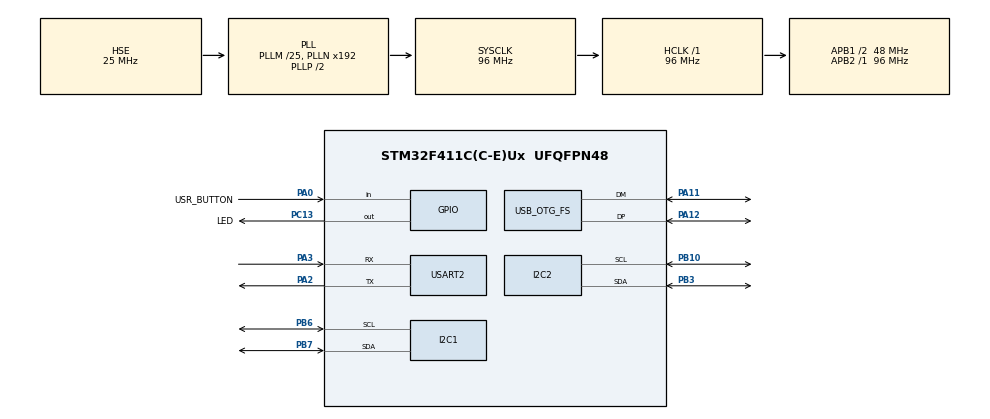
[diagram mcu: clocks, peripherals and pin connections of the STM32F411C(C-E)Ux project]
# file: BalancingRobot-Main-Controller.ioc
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Dma.Request0=USART2_TX
Dma.USART2_TX.0.Direction=DMA_MEMORY_TO_PERIPH
Dma.USART2_TX.0.FIFOMode=DMA_FIFOMODE_DISABLE
Dma.USART2_TX.0.Instance=DMA1_Stream6
Dma.USART2_TX.0.MemDataAlignment=DMA_MDATAALIGN_BYTE
Dma.USART2_TX.0.MemInc=DMA_MINC_ENABLE
Dma.USART2_TX.0.Mode=DMA_NORMAL
Dma.USART2_TX.0.PeriphDataAlignment=DMA_PDATAALIGN_BYTE
Dma.USART2_TX.0.PeriphInc=DMA_PINC_DISABLE
Dma.USART2_TX.0.Priority=DMA_PRIORITY_LOW
Mcu.Family=STM32F4
Mcu.Name=STM32F411C(C-E)Ux
Mcu.Package=UFQFPN48
NVIC.DMA1_Stream6_IRQn=true\:1\:0\:true\:false\:true\:false\:true\:true
NVIC.OTG_FS_IRQn=true\:2\:0\:true\:false\:true\:false\:true\:true
NVIC.PriorityGroup=NVIC_PRIORITYGROUP_4
NVIC.TIM3_IRQn=true\:0\:0\:false\:false\:true\:true\:true\:true
NVIC.USART2_IRQn=true\:0\:0\:false\:false\:true\:true\:true\:true
PA0-WKUP.GPIO_Label=USR_BUTTON
PA0-WKUP.GPIO_PuPd=GPIO_PULLUP
PA0-WKUP.Signal=GPIO_Input
PA11.Mode=Device_Only
PA11.Signal=USB_OTG_FS_DM
PA12.Mode=Device_Only
PA12.Signal=USB_OTG_FS_DP
PA2.Mode=Asynchronous
PA2.Signal=USART2_TX
PA3.Mode=Asynchronous
PA3.Signal=USART2_RX
PB10.Mode=I2C
PB10.Signal=I2C2_SCL
PB3.Mode=I2C
PB3.Signal=I2C2_SDA
PB6.Mode=I2C
PB6.Signal=I2C1_SCL
PB7.Mode=I2C
PB7.Signal=I2C1_SDA
PC13-ANTI_TAMP.GPIO_Label=LED
PC13-ANTI_TAMP.PinState=GPIO_PIN_SET
PC13-ANTI_TAMP.Signal=GPIO_Output
PC14-OSC32_IN.Mode=LSE-External-Oscillator
PC14-OSC32_IN.Signal=RCC_OSC32_IN
PC15-OSC32_OUT.Mode=LSE-External-Oscillator
PC15-OSC32_OUT.Signal=RCC_OSC32_OUT
PH0\ -\ OSC_IN.Mode=HSE-External-Oscillator
PH0\ -\ OSC_IN.Signal=RCC_OSC_IN
PH1\ -\ OSC_OUT.Mode=HSE-External-Oscillator
PH1\ -\ OSC_OUT.Signal=RCC_OSC_OUT
ProjectManager.HeapSize=0x200
ProjectManager.StackSize=0x400
ProjectManager.TargetToolchain=CMake
RCC.48MHZClocksFreq_Value=48000000
RCC.AHBFreq_Value=96000000
RCC.APB1CLKDivider=RCC_HCLK_DIV2
RCC.APB1Freq_Value=48000000
RCC.APB1TimFreq_Value=96000000
RCC.APB2Freq_Value=96000000
RCC.APB2TimFreq_Value=96000000
RCC.CortexFreq_Value=96000000
RCC.HCLKFreq_Value=96000000
RCC.HSE_VALUE=25000000
RCC.HSI_VALUE=16000000
RCC.PLLM=25
RCC.SYSCLKFreq_VALUE=96000000
RCC.SYSCLKSource=RCC_SYSCLKSOURCE_PLLCLK
RCC.VCOOutputFreq_Value=192000000
TIM3.Period=5000-1
TIM3.Prescaler=96 - 1
USART2.VirtualMode=VM_ASYNC
USB_DEVICE.CLASS_NAME_FS=CDC
USB_DEVICE.VirtualMode=Cdc
USB_DEVICE.VirtualModeFS=Cdc_FS
USB_OTG_FS.VirtualMode=Device_Only
VP_RTC_VS_RTC_Activate.Mode=RTC_Enabled
VP_TIM3_VS_ClockSourceINT.Mode=Internal
VP_USB_DEVICE_VS_USB_DEVICE_CDC_FS.Mode=CDC_FS
board=custom

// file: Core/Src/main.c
/* USER CODE BEGIN Header */
/**
  ******************************************************************************
  * @file           : main.c
  * @brief          : Main program body
  ******************************************************************************
  * @attention
  *
  * Copyright (c) 2026 STMicroelectronics.
  * All rights reserved.
  *
  * This software is licensed under terms that can be found in the LICENSE file
  * in the root directory of this software component.
  * If no LICENSE file comes with this software, it is provided AS-IS.
  *
  ******************************************************************************
  */
/* USER CODE END Header */
#include "main.h"
#include "dma.h"
#include "i2c.h"
#include "rtc.h"
#include "tim.h"
#include "usart.h"
#include "usb_device.h"
#include "gpio.h"

/* USER CODE BEGIN Includes */
#include <stdint.h>
#include <stdio.h>
#include <math.h>
#include "usbd_cdc_if.h"
#include "mpu6050.h"
#include "dualFOC_communication.h"
#include "pid.h"
#include "config.h"
/* USER CODE END Includes */

/* USER CODE BEGIN PTD */

#define USB_BLOCK_SIZE 0x200	//512 bytes

/* USER CODE END PTD */

/* USER CODE BEGIN PV */
MPU6050_t MPU6050;
PID_t pid;

float target_angle = 00.0f;
float offset = 0.0f; // angle offset

volatile uint8_t loop_flag = 0; //

uint8_t error_flag = 0;    // Global error flag
FeedbackPacket_t motor_feedback_data = {0}; // Data from ESC1

uint8_t rxRawBuffer[sizeof(FeedbackPacket_t)]; // Raw buffer for receiving data
volatile uint8_t rx_msg_recieved = 0; // message received flag

RobotState_t robot_state = STATE_STANDBY;

// USER
uint8_t button_pressed = 0;
uint8_t button_prev_state = 0;
uint32_t button_debounce_time = 0;

/* USER CODE END PV */

void SystemClock_Config(void);
/* USER CODE BEGIN PFP */
const char* GetStateName(RobotState_t s);

/* USER CODE END PFP */

/* USER CODE BEGIN 0 */
// _write override for the printf funct
int _write(int file, char *ptr, int len) {
    CDC_Transmit_FS((uint8_t*) ptr, len);
    return len;
}

void sensors_init(float* offset);

/* USER CODE END 0 */

int main(void)
{

  /* MCU Configuration--------------------------------------------------------*/

  /* Reset of all peripherals, Initializes the Flash interface and the Systick. */
  HAL_Init();

  /* Configure the system clock */
  SystemClock_Config();

  /* Initialize all configured peripherals */
  MX_GPIO_Init();
  MX_DMA_Init();
  MX_I2C1_Init();
  MX_I2C2_Init();
  MX_RTC_Init();
  MX_TIM3_Init();
  MX_USART2_UART_Init();
  MX_USB_DEVICE_Init();
  /* USER CODE BEGIN 2 */
  HAL_TIM_Base_Start_IT(&LOOP_TIMER);
  if (TIM_PERIOD_REG_VAL != LOOP_TIME) {
    /*  ERROR - WRONG LOOP TIME VALUE  */
    return -1;
  }
  sensors_init(&offset);
  HAL_UART_Receive_IT(&MOT1_UART, rxRawBuffer, 1);
  /* USER CODE END 2 */

  /* Infinite loop */
  /* USER CODE BEGIN WHILE */
  float angle = 0.0f;
  float output = 0.0f;

  uint32_t last_debug_time = HAL_GetTick();

  while (1)
  {
    uint8_t button_state = HAL_GPIO_ReadPin(BUTTON_PIN_PORT, BUTTON_PIN_NUM);

    if (button_state != button_prev_state) {
        button_debounce_time = HAL_GetTick();
    }
    if (HAL_GetTick() - button_debounce_time > 50) {
      static uint8_t button_debounced_state = GPIO_PIN_SET;

      if (button_state != button_debounced_state) {
        button_debounced_state = button_state;

        if (button_debounced_state == BUTTON_PRESSED) {
            button_pressed = 1;
        }
      }
    }
    button_prev_state = button_state;

    // Control loop
    if (loop_flag) {
      loop_flag = 0;
      // 1. Read MPU6050 data
      MPU6050_Read_All(&IMU_I2C, &MPU6050);
      angle = MPU6050.KalmanAngleX - offset;

      // if (fabsf(angle) <= 0.05) { // Target
      //   angle = 0;
      // }

      switch (robot_state) {

        case STATE_STANDBY:
            if (button_pressed) {
              pid_reset(&pid, angle);
              output = 0.0f;

              send_motor_command(&MOT1_UART, CMD_START_INIT, 0, 0);
            }
            if (motor_feedback_data.status == CMD_START_INIT) {
              robot_state = STATE_INIT;
            }
          break;

        case STATE_INIT: // check if the communication is ok - wait for the message from motor controller
          if (motor_feedback_data.status == CMD_HELLO_MOTOR) {
            static uint16_t init_timer = 0;
            if (++init_timer >= ONE_SEC/2) { // (send command every 500 ms)
              send_motor_command(&MOT1_UART, CMD_HELLO_MASTER, 0.0, 0.0);
              init_timer = 0;
              robot_state = STATE_IDLE;
            }
          }
          break;

        case STATE_IDLE: //  wait until everything is ready
          static uint16_t idle_timer = 0;
          if (++idle_timer >= ONE_SEC/2) { // (send command every 500 ms)
            send_motor_command(&MOT1_UART, CMD_INIT, 0.0, 0.0);
            idle_timer = 0;
          }
          if (motor_feedback_data.status == CMD_START) {
            robot_state = STATE_BALANCING;
          }
          break;

        case STATE_BALANCING: // normal operation
          if (fabsf(angle) > MAX_ANGLE){// Out of range
            robot_state = STATE_FALLEN;
            break;
          }

          // 2. Calculate PID
          output = run_pid(&pid, angle, target_angle);      // convert values to motor commands (angle -> linear vel)
          // 3. Send data to ESCs
          send_motor_command(&MOT1_UART, CMD_SET_VAL, output, output);

          if (motor_feedback_data.status == CMD_ERROR) {
            robot_state = STATE_ERROR;
          }
          else if (motor_feedback_data.status == CMD_STOP) {
            robot_state = STATE_STANDBY;
          }
          break;

        case STATE_FALLEN:
          send_motor_command(&MOT1_UART, CMD_STOP, 0, 0);
          pid_reset(&pid, angle);
          output = 0.0f;

          robot_state = STATE_STANDBY;
          break;
        case STATE_ERROR:
            if (button_pressed) {
              send_motor_command(&MOT1_UART, CMD_CLR_FLT, 0.0, 0.0);
              pid_reset(&pid, angle);
              output = 0.0f;
            }

            if (motor_feedback_data.status == CMD_CLR_FLT) {
              robot_state = STATE_STANDBY;
            }
          break;

        default:
          send_motor_command(&MOT1_UART, CMD_STOP, 0, 0);
          pid_reset(&pid, angle);
          output = 0.0f;
          break;
      }

      button_pressed = 0; // clear button memory
    }
    /* USER CODE END WHILE */

    /* USER CODE BEGIN 3 */
    if (HAL_GetTick() - last_debug_time >= DEBUG_TIME) {
      last_debug_time = HAL_GetTick();
      printf("State: %s\tAngle: %.2f\tOutput2: %.2f\n\r", GetStateName(robot_state), angle, output);
    }
  }
  /* USER CODE END 3 */
}

void SystemClock_Config(void)
{
  RCC_OscInitTypeDef RCC_OscInitStruct = {0};
  RCC_ClkInitTypeDef RCC_ClkInitStruct = {0};

  /** Configure the main internal regulator output voltage
  */
  __HAL_RCC_PWR_CLK_ENABLE();
  __HAL_PWR_VOLTAGESCALING_CONFIG(PWR_REGULATOR_VOLTAGE_SCALE1);

  /** Initializes the RCC Oscillators according to the specified parameters
  * in the RCC_OscInitTypeDef structure.
  */
  RCC_OscInitStruct.OscillatorType = RCC_OSCILLATORTYPE_LSI|RCC_OSCILLATORTYPE_HSE;
  RCC_OscInitStruct.HSEState = RCC_HSE_ON;
  RCC_OscInitStruct.LSIState = RCC_LSI_ON;
  RCC_OscInitStruct.PLL.PLLState = RCC_PLL_ON;
  RCC_OscInitStruct.PLL.PLLSource = RCC_PLLSOURCE_HSE;
  RCC_OscInitStruct.PLL.PLLM = 25;
  RCC_OscInitStruct.PLL.PLLN = 192;
  RCC_OscInitStruct.PLL.PLLP = RCC_PLLP_DIV2;
  RCC_OscInitStruct.PLL.PLLQ = 4;
  if (HAL_RCC_OscConfig(&RCC_OscInitStruct) != HAL_OK)
  {
    Error_Handler();
  }

  /** Initializes the CPU, AHB and APB buses clocks
  */
  RCC_ClkInitStruct.ClockType = RCC_CLOCKTYPE_HCLK|RCC_CLOCKTYPE_SYSCLK
                              |RCC_CLOCKTYPE_PCLK1|RCC_CLOCKTYPE_PCLK2;
  RCC_ClkInitStruct.SYSCLKSource = RCC_SYSCLKSOURCE_PLLCLK;
  RCC_ClkInitStruct.AHBCLKDivider = RCC_SYSCLK_DIV1;
  RCC_ClkInitStruct.APB1CLKDivider = RCC_HCLK_DIV2;
  RCC_ClkInitStruct.APB2CLKDivider = RCC_HCLK_DIV1;

  if (HAL_RCC_ClockConfig(&RCC_ClkInitStruct, FLASH_LATENCY_3) != HAL_OK)
  {
    Error_Handler();
  }
}

/* USER CODE BEGIN 4 */
void sensors_init(float* offset) {
    HAL_Delay(1000); // TEMP (for debugging)

  printf("BALANCING ROBOT - starting initialization \r\n");

  uint32_t mpu_init_time = HAL_GetTick(); // Init timeout timer

  while (MPU6050_Init(&IMU_I2C) == 1) {
    if (HAL_GetTick() - mpu_init_time > ONE_SEC) {
      printf("IMU initialization\r\n");
      mpu_init_time = HAL_GetTick(); // Reset timer
    }
  }
  printf("IMU - initialization complete \r\n");

  pidInit(&pid, PID_KP, PID_KI, PID_KD, PID_MAX_OUT, PID_MAX_I, LOOP_TIME);

  printf("Offset calibration in 3 sec...\r\n");

  uint32_t warmup_ticks = 0;

  // Filter warmup
  while (warmup_ticks < CALIB_WARMUP_TIME) {
    if (loop_flag) {
      loop_flag = 0;
      MPU6050_Read_All(&IMU_I2C, &MPU6050);
      warmup_ticks++;
    }
  }
  // Calibrate offset
  printf("Calibration start - DONT MOVE THE DEVICE!\n\r");

  float pid_offset_sum = 0.0f;
  uint32_t calib_ticks = 0;
  loop_flag = 0;

  while (calib_ticks < CALIB_TIME) {
    if (loop_flag) {
      loop_flag = 0;
      MPU6050_Read_All(&IMU_I2C, &MPU6050);
      pid_offset_sum += MPU6050.KalmanAngleX;
      calib_ticks++;
    }
    // HAL_Delay(1);
  }
  *offset = pid_offset_sum / (float)calib_ticks;

  printf("Offset calibration complete. Offset = %.2f deg\r\n", *offset);

  float angle = MPU6050.KalmanAngleX;
  angle -= *offset;
  pid_reset(&pid, angle);
  loop_flag = 0;
  HAL_Delay(50);
}

const char* GetStateName(RobotState_t s) {
  switch(s) {
    case STATE_INIT: return "INIT";
    case STATE_IDLE: return "IDLE";
    case STATE_BALANCING: return "BALANCING";
    case STATE_FALLEN: return "FALLEN";
    default: return "UNKNOWN";
  }
}

void HAL_TIM_PeriodElapsedCallback(TIM_HandleTypeDef *htim)
{
    if (htim->Instance == TIM3)
    {
        loop_flag = 1; // Set main loop flag
    }
}

void HAL_UART_RxCpltCallback(UART_HandleTypeDef *huart)
{
  if (huart->Instance == USART2)
  {
    static uint8_t rxState_flag = 0; // 0 -looking for start byte, 1 - receiving data

    if (rxState_flag == 0) {
      if (rxRawBuffer[0] == 0xBB) { // Start byte found
        rxState_flag = 1;

        HAL_UART_Receive_IT(huart, &rxRawBuffer[1], sizeof(FeedbackPacket_t) - 1); // Receive rest of the packet
      }
      else {
        HAL_UART_Receive_IT(huart, rxRawBuffer, 1);
      }
    }
    else if (rxState_flag == 1) {
      // Full packet received
      FeedbackPacket_t* recieved_pkt = (FeedbackPacket_t*)rxRawBuffer;

      //calcuate checksum and verify
      uint8_t checksum = calculate_checksum(rxRawBuffer, sizeof(FeedbackPacket_t));
      if (recieved_pkt->checksum == checksum) {
        // Valid packet
        motor_feedback_data = *recieved_pkt;
        rx_msg_recieved = 1;
      }

      rxState_flag = 0; // Reset state to look for next packet
      // Restart reception for next packet
      HAL_UART_Receive_IT(huart, rxRawBuffer, 1);
    }
  } // if USART2
}

/* USER CODE END 4 */

void Error_Handler(void)
{
  __disable_irq();
  while (1)
  {
  }
}
